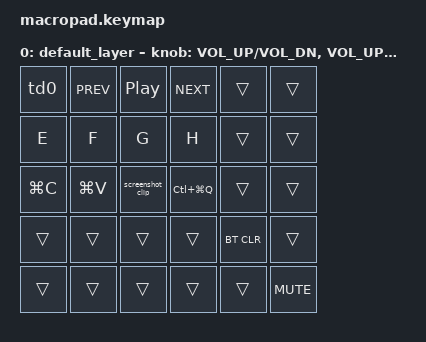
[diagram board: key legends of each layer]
#include <behaviors.dtsi>
#include <dt-bindings/zmk/keys.h>
#include <dt-bindings/zmk/bt.h>

/ {
    behaviors {
        screenshot_clip: screenshot_clip {
            compatible = "zmk,behavior-macro";
            label = "Screenshot to Clipboard";
            #binding-cells = <0>;
            bindings = <
                &kp LG(LS(LC(N4)))    /* cmd + shift + ctrl + 4 */
            >;
        };

        cmd_q_macro: cmd_q {
            compatible = "zmk,behavior-macro";
            label = "Cmd+Q";
            #binding-cells = <0>;
            bindings = <
                &kp LG(Q) /* cmd + q*/
            >;
        };

        td0: tap_dance_0 {
            compatible = "zmk,behavior-tap-dance";
            #binding-cells = <0>;
            tapping-term-ms = <200>;
            bindings = <&trans>, <&cmd_q_macro>;
        };
    };

    keymap {
        compatible = "zmk,keymap";

        default_layer {
            // ------------------------------------
            // | R1    |                 | R2     |
            // ------------------------------------
            // | KEY 1 | KEY 2  | KEY 3  | KEY 4  |
            // | KEY 5 | KEY 6  | KEY 7  | KEY 8  |
            // | KEY 9 | KEY 10 | KEY 11 | KEY 12 |
            // ------------------------------------
            bindings = <
                /*         D10          D16             D14                     D15                 D19         D4  */
                /* D7 */  &td0          &kp C_PREV      &kp C_PLAY_PAUSE        &kp C_NEXT          &trans      &trans
                /* D8 */  &kp E         &kp F           &kp G                   &kp H               &trans      &trans
                /* D9 */  &kp LG(C)     &kp LG(V)       &screenshot_clip        &kp LC(LG(Q))       &trans      &trans

                /* Encoder left - D18:D19 */
                /* D18 */ &trans        &trans          &trans                  &trans              &bt BT_CLR  &trans

                /* Encoder right - D4:D5 */
                /* D5 */  &trans        &trans          &trans                  &trans              &trans      &kp C_MUTE
            >;
//        // Copy (⌘ + C)
    //         // Paste (⌘ + V)
    //     // Lock Screen (⌃ + ⌘ + Q)

            sensor-bindings = <&inc_dec_kp C_VOL_UP C_VOL_DN &inc_dec_kp C_VOL_UP C_VOL_DN>;


            
        };
    };

    combos {
        compatible = "zmk,combos";

        // W + R => Clear all Bluetooth pairings
        bt_clear_combo {
            timeout-ms = <50>;                 // Time window to press both keys
            key-positions = <28 35>;           // Positions of W and R in your keymap
            bindings = <&kp A>;                // Trigger Bluetooth clear
        };
    };
};
